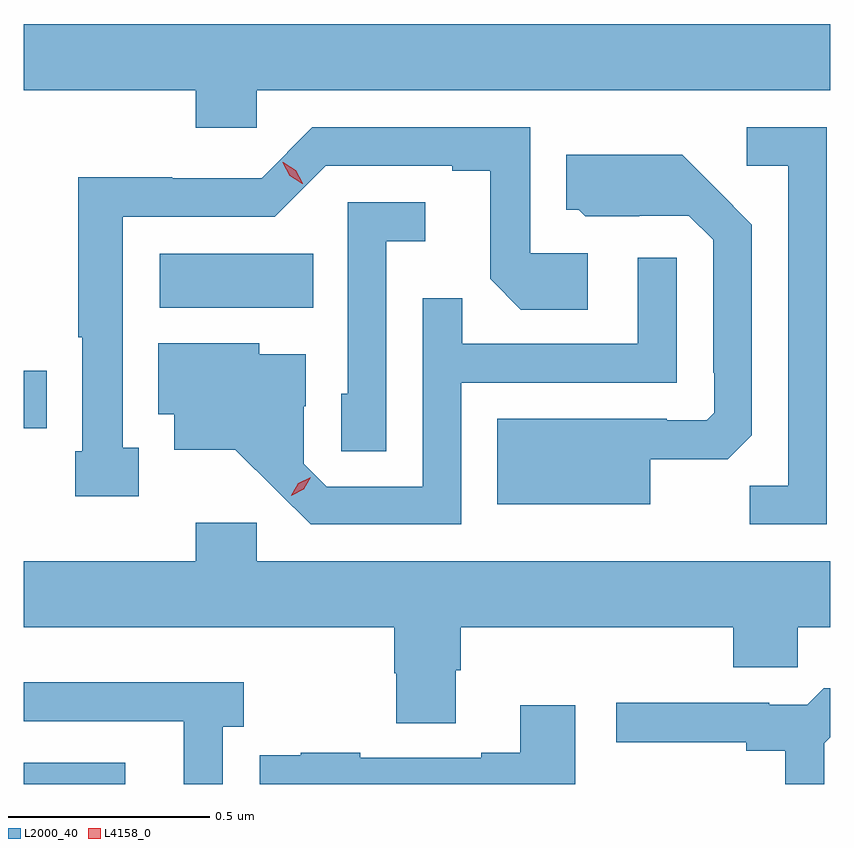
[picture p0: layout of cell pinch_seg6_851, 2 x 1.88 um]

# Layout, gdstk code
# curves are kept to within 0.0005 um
import gdstk
lib = gdstk.Library(unit=1e-6, precision=1e-09)
def R(c, l, rs):  # rectangles x0, y0, x1, y1
    for r in rs: c.add(gdstk.rectangle(r[:2], r[2:], *l))
def P(c, l, *ps):  # polygons
    for p in ps: c.add(gdstk.Polygon(p, *l))
L2000_40 = (2000, 40)
L4158_0 = (4158, 0)

pinch_seg6_851 = lib.new_cell('pinch_seg6_851')
R(pinch_seg6_851, L2000_40, [(137.704,980.248,137.956,980.301), (137.704,981.13,137.761,981.272), (138.042,981.428,138.422,981.562)])
P(pinch_seg6_851, L2000_40, [(138.282,981.968),(139.704,981.968),(139.704,982.132),(137.704,982.132),(137.704,981.968),(138.131,981.968),(138.131,981.875),(138.282,981.875)],
  [(139.695,981.876),(139.497,981.876),(139.497,981.78),(139.599,981.78),(139.599,980.987),(139.504,980.987),(139.504,980.892),(139.695,980.892)],
  [(137.989,981.081),(137.95,981.081),(137.95,981.654),(138.327,981.654),(138.453,981.78),(138.767,981.78),(138.767,981.768),(138.861,981.768),(138.861,981.5),(138.937,981.424),(139.102,981.424),(139.102,981.564),(138.96,981.564),(138.96,981.876),(138.42,981.876),(138.294,981.75),(138.072,981.75),(138.072,981.752),(137.839,981.752),(137.839,981.355),(137.849,981.355),(137.849,981.073),(137.832,981.073),(137.832,980.961),(137.989,980.961)],
  [(139.258,981.053),(139.45,981.053),(139.509,981.112),(139.509,981.634),(139.337,981.808),(139.049,981.808),(139.049,981.672),(139.08,981.672),(139.096,981.656),(139.23,981.656),(139.23,981.657),(139.353,981.657),(139.413,981.597),(139.413,981.268),(139.416,981.268),(139.416,981.168),(139.398,981.15),(139.298,981.15),(139.298,981.154),(138.878,981.154),(138.878,980.942),(139.258,980.942)],
  [(138.603,981.593),(138.7,981.593),(138.7,981.69),(138.507,981.69),(138.507,981.216),(138.492,981.216),(138.492,981.073),(138.603,981.073)],
  [(138.789,981.243),(139.323,981.243),(139.323,981.553),(139.227,981.553),(139.227,981.339),(138.791,981.339),(138.791,981.452),(138.693,981.452),(138.693,980.985),(138.456,980.985),(138.399,981.042),(138.399,981.184),(138.403,981.184),(138.403,981.313),(138.288,981.313),(138.288,981.34),(138.038,981.34),(138.038,981.164),(138.077,981.164),(138.077,981.077),(138.229,981.077),(138.416,980.892),(138.789,980.892)],
  [(138.775,980.53),(138.788,980.53),(138.788,980.636),(139.463,980.636),(139.463,980.538),(139.623,980.538),(139.623,980.636),(139.704,980.636),(139.704,980.8),(138.282,980.8),(138.282,980.896),(138.131,980.896),(138.131,980.8),(137.704,980.8),(137.704,980.636),(138.623,980.636),(138.623,980.523),(138.628,980.523),(138.628,980.398),(138.775,980.398)],
  [(138.198,980.39),(138.25,980.39),(138.25,980.5),(137.704,980.5),(137.704,980.403),(138.101,980.403),(138.101,980.248),(138.198,980.248)],
  [(139.689,980.349),(139.704,980.364),(139.704,980.485),(139.687,980.485),(139.647,980.445),(139.553,980.445),(139.553,980.45),(139.173,980.45),(139.173,980.352),(139.496,980.352),(139.496,980.33),(139.592,980.33),(139.592,980.248),(139.689,980.248)],
  [(139.071,980.443),(138.935,980.443),(138.935,980.326),(138.839,980.326),(138.839,980.313),(138.539,980.313),(138.539,980.326),(138.391,980.326),(138.391,980.319),(138.289,980.319),(138.289,980.248),(139.071,980.248)])
P(pinch_seg6_851, L4158_0, [(138.368,980.963),(138.368,980.964),(138.385,980.993),(138.416,981.009),(138.416,981.009),(138.416,981.008),(138.399,980.979),(138.368,980.963)],
  [(138.395,981.736),(138.364,981.756),(138.347,981.788),(138.347,981.789),(138.348,981.789),(138.379,981.769),(138.396,981.737),(138.396,981.736)])

lib.write_gds('pinch_seg6_851.gds')
